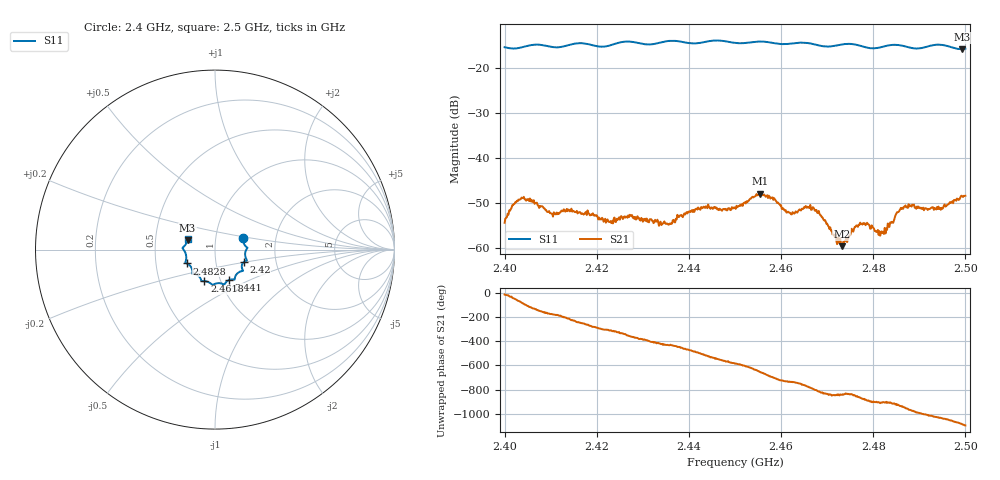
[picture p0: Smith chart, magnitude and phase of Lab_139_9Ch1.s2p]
# Hz S RI R 50
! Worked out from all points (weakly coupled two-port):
!   601 points, 2.4 GHz to 2.5 GHz, reference 50 ohm
!   highest |S21| = -47.85 dB at 2.4555 GHz (marker M1); lowest = -59.5 dB at 2.4732 GHz (marker M2)
!   lowest |S11| = -15.8 dB at 2.4993 GHz (marker M3), VSWR 1.39, Z = 36.5 + j3.85 ohm
!   |S11| at or under -10 dB: start of sweep to end of sweep
!   S12 and S22 are empty: the file has one direction only
!   S11 on the Smith chart (normalised r, x): 2.4 GHz: 1.36, +0.18; 2.42 GHz: 1.36, -0.20; 2.441 GHz: 1.10, -0.39; 2.4618 GHz: 0.84, -0.30; 2.4828 GHz: 0.72, -0.11; 2.5 GHz: 0.73, +0.09
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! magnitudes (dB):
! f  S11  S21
! 2.4 GHz  -15.4  -54.3
! 2.4022 GHz  -15.7  -50.1
! 2.4038 GHz  -15.4  -48.8
! 2.41 GHz  -15.3  -52.2
! 2.4167 GHz  -14.5  -52.4
! 2.42 GHz  -15.2  -52.6
! 2.4333 GHz  -14.5  -54.2
! 2.4358 GHz  -14.0  -54.5
! 2.441 GHz  -14.6  -51.5
! 2.45 GHz  -14.5  -51.0
! 2.4555 GHz  -14.1  -47.8
! 2.4618 GHz  -14.6  -52.0
! 2.4667 GHz  -14.6  -51.4
! 2.4732 GHz  -14.8  -59.5
! 2.4773 GHz  -15.1  -54.5
! 2.4812 GHz  -15.5  -57.0
! 2.4828 GHz  -15.1  -55.6
! 2.4833 GHz  -15.0  -55.1
! 2.4865 GHz  -15.1  -51.2
! 2.4945 GHz  -14.9  -51.0
! 2.4993 GHz  -15.8  -48.5
! 2.5 GHz  -15.7  -48.3
